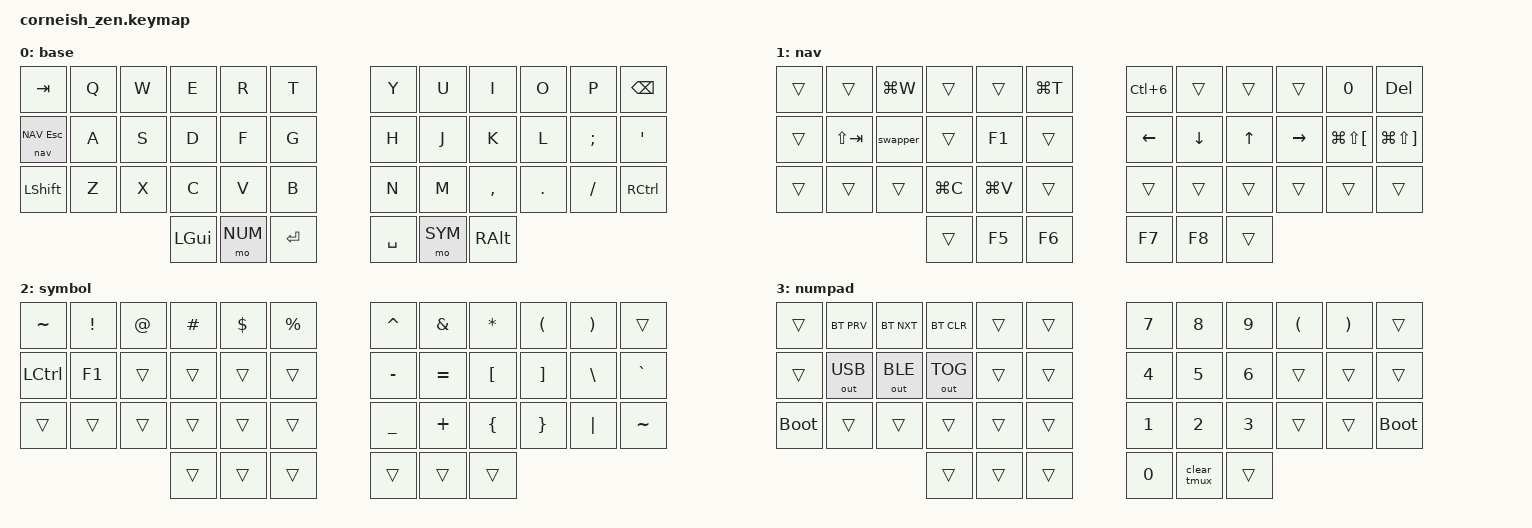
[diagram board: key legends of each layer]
#include <behaviors.dtsi>
#include <dt-bindings/zmk/keys.h>
#include <dt-bindings/zmk/bt.h>
#include <dt-bindings/zmk/outputs.h>
#include "zmk-helpers/helper.h"
#include "zmk-helpers/key-labels/42.h"

#define DEF 0
#define NAV 1
#define SYM 2
#define NUM 3

ZMK_BEHAVIOR(swapper, tri_state,
    bindings = <&kt LCMD>, <&kp TAB>, <&kt LCMD>;
    ignored-key-positions = <LM4>;
)

ZMK_BEHAVIOR(nav, hold_tap,
  flavor = "hold-preferred";
  tapping-term-ms = <100>;
  bindings = <&mo>, <&kp>;
)

ZMK_BEHAVIOR(clear_tmux, macro,
    wait-ms = <100>;
    tap-ms = <5>;
    bindings = <&kp F1 &kp V>;
)

ZMK_LAYER(base,
     // ╭─────────────┬─────────────┬─────────────┬─────────────┬─────────────┬─────────────╮   ╭─────────────┬─────────────┬─────────────┬─────────────┬─────────────┬─────────────╮
        &kp TAB       &kp Q         &kp W         &kp E         &kp R         &kp T             &kp Y         &kp U         &kp I         &kp O         &kp P         &kp BSPC       
     // ├─────────────┼─────────────┼─────────────┼─────────────┼─────────────┼─────────────┤   ├─────────────┼─────────────┼─────────────┼─────────────┼─────────────┼─────────────┤
        &nav NAV ESC  &kp A         &kp S         &kp D         &kp F         &kp G             &kp H         &kp J         &kp K         &kp L         &kp SEMI      &kp SQT        
     // ├─────────────┼─────────────┼─────────────┼─────────────┼─────────────┼─────────────┤   ├─────────────┼─────────────┼─────────────┼─────────────┼─────────────┼─────────────┤
        &kp LSHFT     &kp Z         &kp X         &kp C         &kp V         &kp B             &kp N         &kp M         &kp COMMA     &kp DOT       &kp FSLH      &kp RCTRL      
     // ╰─────────────┼─────────────┼─────────────┼─────────────┼─────────────┼─────────────┤   ├─────────────┼─────────────┼─────────────┼─────────────┼─────────────┼─────────────┤
                                                  &kp LGUI      &mo NUM       &kp RET           &kp SPACE     &mo SYM       &kp RALT       
     //                                           ╰─────────────┴──── ────────┴─────────────╯   ╰─────────────┴─────────────┴─────────────╯
)

#define LEFT_TAB &kp LG(LS(LBKT))
#define RIGHT_TAB &kp LG(LS(RBKT))

ZMK_LAYER(nav,
     // ╭─────────────┬─────────────┬─────────────┬─────────────┬─────────────┬─────────────╮   ╭─────────────┬─────────────┬─────────────┬─────────────┬─────────────┬─────────────╮
        &trans        &trans        &kp LG(W)     &trans        &trans        &kp LG(T)         &kp LC(N6)    &trans        &trans        &trans        &kp N0        &kp DEL         
     // ├─────────────┼─────────────┼─────────────┼─────────────┼─────────────┼─────────────┤   ├─────────────┼─────────────┼─────────────┼─────────────┼─────────────┼─────────────┤
        &trans        &kp LS(TAB)   &swapper      &trans        &kp F1        &trans            &kp LEFT      &kp DOWN      &kp UP        &kp RIGHT     LEFT_TAB      RIGHT_TAB      
     // ├─────────────┼─────────────┼─────────────┼─────────────┼─────────────┼─────────────┤   ├─────────────┼─────────────┼─────────────┼─────────────┼─────────────┼─────────────┤
        &trans        &trans        &trans        &kp LG(C)     &kp LG(V)     &trans            &trans        &trans        &trans        &trans        &trans        &trans         
     // ╰─────────────┼─────────────┼─────────────┼─────────────┼─────────────┼─────────────┤   ├─────────────┼─────────────┼─────────────┼─────────────┼─────────────┼─────────────┤
                                                  &trans        &kp F5        &kp F6            &kp F7        &kp F8        &trans         
     //                                           ╰─────────────┴──── ────────┴─────────────╯   ╰─────────────┴─────────────┴─────────────╯
)

ZMK_LAYER(symbol,
     // ╭─────────────┬─────────────┬─────────────┬─────────────┬─────────────┬─────────────╮   ╭─────────────┬─────────────┬─────────────┬─────────────┬─────────────┬─────────────╮
        &kp TILDE     &kp EXCL      &kp AT        &kp HASH      &kp DLLR      &kp PRCNT         &kp CARET     &kp AMPS      &kp STAR      &kp LPAR      &kp RPAR      &trans         
     // ├─────────────┼─────────────┼─────────────┼─────────────┼─────────────┼─────────────┤   ├─────────────┼─────────────┼─────────────┼─────────────┼─────────────┼─────────────┤
        &kp LCTRL     &kp F1        &trans        &trans        &trans        &trans            &kp MINUS     &kp EQUAL     &kp LBKT      &kp RBKT      &kp BSLH      &kp GRAVE      
     // ├─────────────┼─────────────┼─────────────┼─────────────┼─────────────┼─────────────┤   ├─────────────┼─────────────┼─────────────┼─────────────┼─────────────┼─────────────┤
        &trans        &trans        &trans        &trans        &trans        &trans            &kp UNDER     &kp PLUS      &kp LBRC      &kp RBRC      &kp PIPE      &kp TILDE      
     // ╰─────────────┼─────────────┼─────────────┼─────────────┼─────────────┼─────────────┤   ├─────────────┼─────────────┼─────────────┼─────────────┼─────────────┼─────────────┤
                                                  &trans        &trans        &trans            &trans        &trans        &trans         
     //                                           ╰─────────────┴──── ────────┴─────────────╯   ╰─────────────┴─────────────┴─────────────╯
)

ZMK_LAYER(numpad,
     // ╭─────────────┬─────────────┬─────────────┬─────────────┬─────────────┬─────────────╮   ╭─────────────┬─────────────┬─────────────┬─────────────┬─────────────┬─────────────╮
        &trans        &bt BT_PRV    &bt BT_NXT    &bt BT_CLR    &trans        &trans            &kp N7        &kp N8        &kp N9        &kp LPAR      &kp RPAR      &trans         
     // ├─────────────┼─────────────┼─────────────┼─────────────┼─────────────┼─────────────┤   ├─────────────┼─────────────┼─────────────┼─────────────┼─────────────┼─────────────┤
        &trans        &out OUT_USB  &out OUT_BLE  &out OUT_TOG  &trans        &trans            &kp N4        &kp N5        &kp N6        &trans        &trans        &trans         
     // ├─────────────┼─────────────┼─────────────┼─────────────┼─────────────┼─────────────┤   ├─────────────┼─────────────┼─────────────┼─────────────┼─────────────┼─────────────┤
        &bootloader   &trans        &trans        &trans        &trans        &trans            &kp N1        &kp N2        &kp N3        &trans        &trans        &bootloader         
     // ╰─────────────┼─────────────┼─────────────┼─────────────┼─────────────┼─────────────┤   ├─────────────┼─────────────┼─────────────┼─────────────┼─────────────┼─────────────┤
                                                  &trans        &trans        &trans            &kp N0        &clear_tmux   &trans         
     //                                           ╰─────────────┴──── ────────┴─────────────╯   ╰─────────────┴─────────────┴─────────────╯
)
/* vim: set nowrap ft=c tw=181: */
